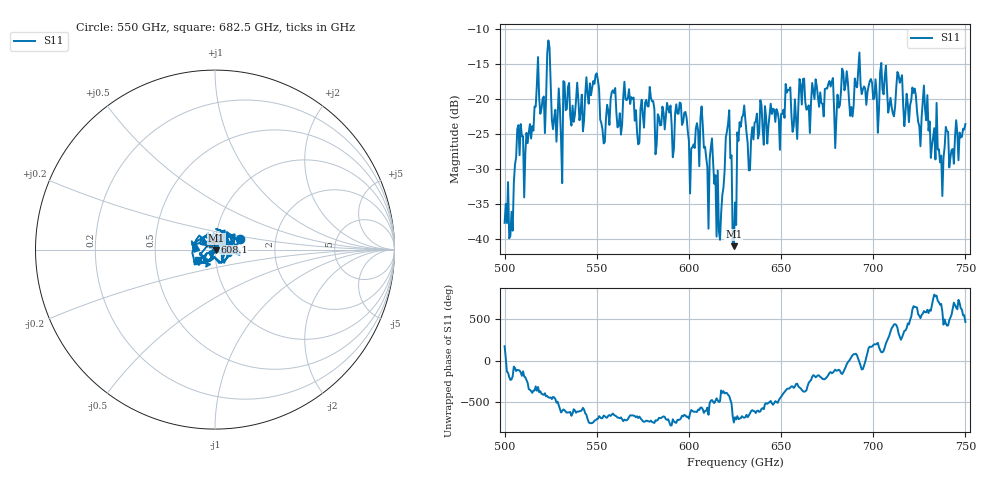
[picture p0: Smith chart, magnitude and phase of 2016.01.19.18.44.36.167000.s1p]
!Created with skrf (http://scikit-rf.org).
# GHz S RI R 50.0
!freq ReS11 ImS11
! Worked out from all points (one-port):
!   401 points, 500 GHz to 750 GHz, reference 50 ohm
!   lowest |S11| = -41.0 dB at 624.4 GHz (marker M1), VSWR 1.02, Z = 50.8 - j0.313 ohm
!   |S11| at or under -10 dB: start of sweep to end of sweep
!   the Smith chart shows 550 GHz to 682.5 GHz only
!   S11 on the Smith chart (normalised r, x): 550 GHz: 1.32, +0.15; 608.1 GHz: 0.99, +0.09; 682.5 GHz: 0.82, -0.10
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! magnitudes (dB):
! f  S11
! 500 GHz  -37.7
! 503.8 GHz  -36.1
! 508.1 GHz  -28.1
! 511.9 GHz  -24.9
! 523.8 GHz  -11.7
! 526.9 GHz  -22.7
! 531.2 GHz  -32.0
! 550 GHz  -16.4
! 553.1 GHz  -24.4
! 558.8 GHz  -18.8
! 562.5 GHz  -22.1
! 593.8 GHz  -22.1
! 601.9 GHz  -26.9
! 608.1 GHz  -27.0
! 616.2 GHz  -38.9
! 621.2 GHz  -23.5
! 624.4 GHz  -41.0
! 625 GHz  -34.8
! 628.8 GHz  -22.6
! 632.5 GHz  -30.2
! 656.2 GHz  -24.7
! 682.5 GHz  -19.0
! 687.5 GHz  -22.4
! 714.4 GHz  -17.7
! 718.8 GHz  -20.8
! 728.1 GHz  -21.5
! 736.9 GHz  -28.1
! 750 GHz  -23.6
